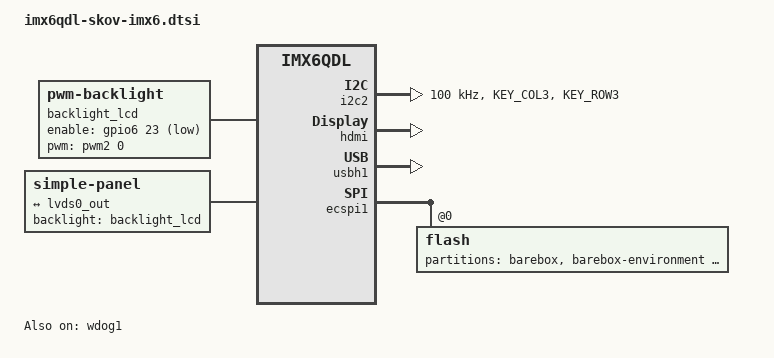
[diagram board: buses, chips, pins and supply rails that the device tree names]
/*
 * Copyright 2015 Juergen Borleis, Pengutronix <kernel@pengutronix.de>
 *
 * The code contained herein is licensed under the GNU General Public
 * License. You may obtain a copy of the GNU General Public License
 * Version 2 or later at the following locations:
 *
 * http://www.opensource.org/licenses/gpl-license.html
 * http://www.gnu.org/copyleft/gpl.html
 */

#include <arm/nxp/imx/imx6qdl-skov-cpu.dtsi>

/ {
	aliases {
		state = &state;
	};

	chosen {
		environment-sd {
			compatible = "barebox,environment";
			device-path = &usdhc3, "partname:barebox-environment";
			status = "disabled";
		};

		environment-spinor {
			compatible = "barebox,environment";
			device-path = &barebox_env;
			status = "disabled";
		};
	};

	/* State: mutable part */
	state: state {
		magic = <0x34a0fc27>;
		compatible = "barebox,state";
		backend-type = "raw";
		backend = <&state_storage>;
		backend-stridesize = <0x40>;

		bootstate {
			#address-cells = <1>;
			#size-cells = <1>;

			system0 { /* the node's name here must match the subnode's name in the 'bootstate' node */
				#address-cells = <1>;
				#size-cells = <1>;

				remaining_attempts@0 {
					reg = <0x0 0x4>;
					type = "uint32";
					default = <3>;
				};
				priority@4 {
					reg = <0x4 0x4>;
					type = "uint32";
					default = <30>;
				};
			};

			system1 { /* the node's name here must match the subnode's name in the 'bootstate' node */
				#address-cells = <1>;
				#size-cells = <1>;

				remaining_attempts@8 {
					reg = <0x8 0x4>;
					type = "uint32";
					default = <3>;
				};
				priority@C {
					reg = <0xC 0x4>;
					type = "uint32";
					default = <20>;
				};
			};

			last_chosen@10 {
				reg = <0x10 0x4>;
				type = "uint32";
			};
		};

		display {
			#address-cells = <1>;
			#size-cells = <1>;

			xres@14 {
				reg = <0x14 0x4>;
				type = "uint32";
				default = <0>;
			};

			yres@18 {
				reg = <0x18 0x4>;
				type = "uint32";
				default = <0>;
			};

			brightness@1C {
				reg = <0x1C 0x1>;
				type = "uint8";
				default = <8>;
			};

			external@1D {
				reg = <0x1D 0x1>;
				type = "uint8";
				default = <0>;
			};
		};

		ethaddr {
			#address-cells = <1>;
			#size-cells = <1>;

			eth2@1e {
				reg = <0x1E 0x6>;
				type = "mac";
				default = [00 11 22 33 44 55];
			};
		};
	};

	backlight_lcd: backlight_lcd {
		compatible = "pwm-backlight";
		pinctrl-names = "default";
		pinctrl-0 = <&pinctrl_backlight>;
		pwms = <&pwm2 0 20000 0>;
		brightness-levels = <0 16 32 48 64 80 96 112 128 144 160 176 192 208 224 240 255>;
		default-brightness-level = <8>;
		enable-gpios = <&gpio6 23 GPIO_ACTIVE_LOW>;
		status = "okay";
	};

	display {
		status = "disabled";
		compatible = "fsl,imx-parallel-display";
		pinctrl-names = "default";
		pinctrl-0 = <&pinctrl_ipu1_4>;
		interface-pix-fmt = "rgb24";

		port {
			display0_in: endpoint {
				remote-endpoint = <&ipu1_di0_disp0>;
			};
		};

		display-timings {
			native-mode = <&l2rt>;

			l2rt: l2rt {
				native-mode;
				clock-frequency = <33000000>;
				hactive = <800>;
				vactive = <480>;
				hback-porch = <85>;
				hfront-porch = <112>;
				vback-porch = <29>;
				vfront-porch = <38>;
				hsync-len = <3>;
				vsync-len = <3>;
				pixelclk-active = <1>;
				hsync-active = <0>;
				vsync-active = <0>;
				de-active = <1>;
			};

			l6whrt: l6whrt {
				native-mode;
				clock-frequency = <33000000>;
				hactive = <800>;
				vactive = <480>;
				hback-porch = <43>;
				hfront-porch = <154>;
				vback-porch = <20>;
				vfront-porch = <47>;
				hsync-len = <3>;
				vsync-len = <3>;
				pixelclk-active = <1>;
				hsync-active = <0>;
				vsync-active = <0>;
				de-active = <1>;
			};
		};
	};

	panel {
		compatible = "simple-panel";
		backlight = <&backlight_lcd>;
		/* power-supply = <&reg_3p3v>; */

		display-timings {
			native-mode = <&mi1010ait_1cp1>;

			mi1010ait_1cp1: mi1010ait-1cp1 {
				native-mode;
				clock-frequency = <70000000>;
				hactive = <1280>;
				vactive = <800>;
				hback-porch = <60>;
				hfront-porch = <60>;
				vback-porch = <10>;
				vfront-porch = <10>;
				hsync-len = <10>;
				vsync-len = <6>;
				/* pixelclk-active = <>; */
				hsync-active = <0>;
				vsync-active = <0>;
				de-active = <1>;
			};
		};

		port {
			panel_in: endpoint {
				remote-endpoint = <&lvds0_out>;
			};
		};
	};
};

&i2c2 {
	clock-frequency = <100000>;
	pinctrl-names = "default";
	pinctrl-0 = <&pinctrl_i2c2_2>;
};

&hdmi {
	status = "okay";
	ddc-i2c-bus = <&i2c2>;
};

/delete-node/&ipu1_di0_hdmi;
/delete-node/&hdmi_mux_0;

&ipu1_di0_disp0 {
	remote-endpoint = <&display0_in>;
};

&usbh1 {
	disable-over-current;
	status = "okay";
};

&iomuxc {
	pinctrl-names = "default";
	pinctrl-0 = <&pinctrl_hog>;

	pinctrl_hog: hoggrp {
		/* we need a few pins as GPIOs */
		fsl,pins = <
			/* Backlight Power Supply Switch (since revision B)
			MX6QDL_PAD_RGMII_TD3__GPIO6_IO23 0x40000058
			/* Backlight Brightness */
			MX6QDL_PAD_GPIO_1__GPIO1_IO01 0x40000058
			/* must be high */
			MX6QDL_PAD_ENET_RX_ER__GPIO1_IO24 0x40000058
		>;
	};

	pinctrl_i2c2_2: i2c2grp-2 {
		fsl,pins = <
			/* internal 22 k pull up required */
			MX6QDL_PAD_KEY_COL3__I2C2_SCL		0x4001F878
			/* internal 22 k pull up required */
			MX6QDL_PAD_KEY_ROW3__I2C2_SDA		0x4001F878
		>;
	};

	pinctrl_ipu1_4: ipu1grp-4 {
		fsl,pins = <
			MX6QDL_PAD_DI0_DISP_CLK__IPU1_DI0_DISP_CLK	0x10
			MX6QDL_PAD_DI0_PIN15__IPU1_DI0_PIN15		0x10
			MX6QDL_PAD_DI0_PIN2__IPU1_DI0_PIN02		0x10
			MX6QDL_PAD_DI0_PIN3__IPU1_DI0_PIN03		0x10
			MX6QDL_PAD_DISP0_DAT0__IPU1_DISP0_DATA00	0x10
			MX6QDL_PAD_DISP0_DAT1__IPU1_DISP0_DATA01	0x10
			MX6QDL_PAD_DISP0_DAT2__IPU1_DISP0_DATA02	0x10
			MX6QDL_PAD_DISP0_DAT3__IPU1_DISP0_DATA03	0x10
			MX6QDL_PAD_DISP0_DAT4__IPU1_DISP0_DATA04	0x10
			MX6QDL_PAD_DISP0_DAT5__IPU1_DISP0_DATA05	0x10
			MX6QDL_PAD_DISP0_DAT6__IPU1_DISP0_DATA06	0x10
			MX6QDL_PAD_DISP0_DAT7__IPU1_DISP0_DATA07	0x10
			MX6QDL_PAD_DISP0_DAT8__IPU1_DISP0_DATA08	0x10
			MX6QDL_PAD_DISP0_DAT9__IPU1_DISP0_DATA09	0x10
			MX6QDL_PAD_DISP0_DAT10__IPU1_DISP0_DATA10	0x10
			MX6QDL_PAD_DISP0_DAT11__IPU1_DISP0_DATA11	0x10
			MX6QDL_PAD_DISP0_DAT12__IPU1_DISP0_DATA12	0x10
			MX6QDL_PAD_DISP0_DAT13__IPU1_DISP0_DATA13	0x10
			MX6QDL_PAD_DISP0_DAT14__IPU1_DISP0_DATA14	0x10
			MX6QDL_PAD_DISP0_DAT15__IPU1_DISP0_DATA15	0x10
			MX6QDL_PAD_DISP0_DAT16__IPU1_DISP0_DATA16	0x10
			MX6QDL_PAD_DISP0_DAT17__IPU1_DISP0_DATA17	0x10
			MX6QDL_PAD_DISP0_DAT18__IPU1_DISP0_DATA18	0x10
			MX6QDL_PAD_DISP0_DAT19__IPU1_DISP0_DATA19	0x10
			MX6QDL_PAD_DISP0_DAT20__IPU1_DISP0_DATA20	0x10
			MX6QDL_PAD_DISP0_DAT21__IPU1_DISP0_DATA21	0x10
			MX6QDL_PAD_DISP0_DAT22__IPU1_DISP0_DATA22	0x10
			MX6QDL_PAD_DISP0_DAT23__IPU1_DISP0_DATA23	0x10
		>;
	};

	pinctrl_backlight: backlight_grp {
		fsl,pins = <
			MX6QDL_PAD_RGMII_TD3__GPIO6_IO23	0x40000058
		>;
	};
};

&clks {
	assigned-clocks = <&clks IMX6QDL_CLK_LDB_DI0_SEL>,
			  <&clks IMX6QDL_CLK_LDB_DI1_SEL>;
	assigned-clock-parents = <&clks IMX6QDL_CLK_PLL5_VIDEO_DIV>,
				 <&clks IMX6QDL_CLK_PLL5_VIDEO_DIV>;
};

/* spi */
&ecspi1 {
	flash@0 {
		partitions {
			compatible = "fixed-partitions";
			#address-cells = <1>;
			#size-cells = <1>;

			partition@0 {
				label = "barebox";
				reg = <0x0 0x100000>;
			};

			/* space left to let barebox grow */

			/* placed near the end of the NOR memory */
			barebox_env: partition@780000 {
				label = "barebox-environment";
				reg = <0x780000 0x40000>;
			};

			/* placed at the end of the NOR memory */
			state_storage: partition@7C0000 {
				label = "barebox-state";
				/* four times mirrored */
				reg = <0x7C0000 0x40000>;
			};
		};
	};
};

&ldb {
	status = "disabled";

	lvds0: lvds-channel@0 {
		status = "disabled";
		fsl,data-width = <24>;
		fsl,data-mapping = "spwg";

		port@4 {
			reg = <4>;
			lvds0_out: endpoint {
				remote-endpoint = <&panel_in>;
			};
		};
	};
};

&wdog1 {
	status = "okay";
};

&gpmi {
	partitions {
		compatible = "fixed-partitions";
		#address-cells = <1>;
		#size-cells = <1>;

		partition@0 {
			label = "firmware";
			reg = <0x00000000 0x000000000>; /* keep zero sized to enable autodetection */
		};
	};
};
